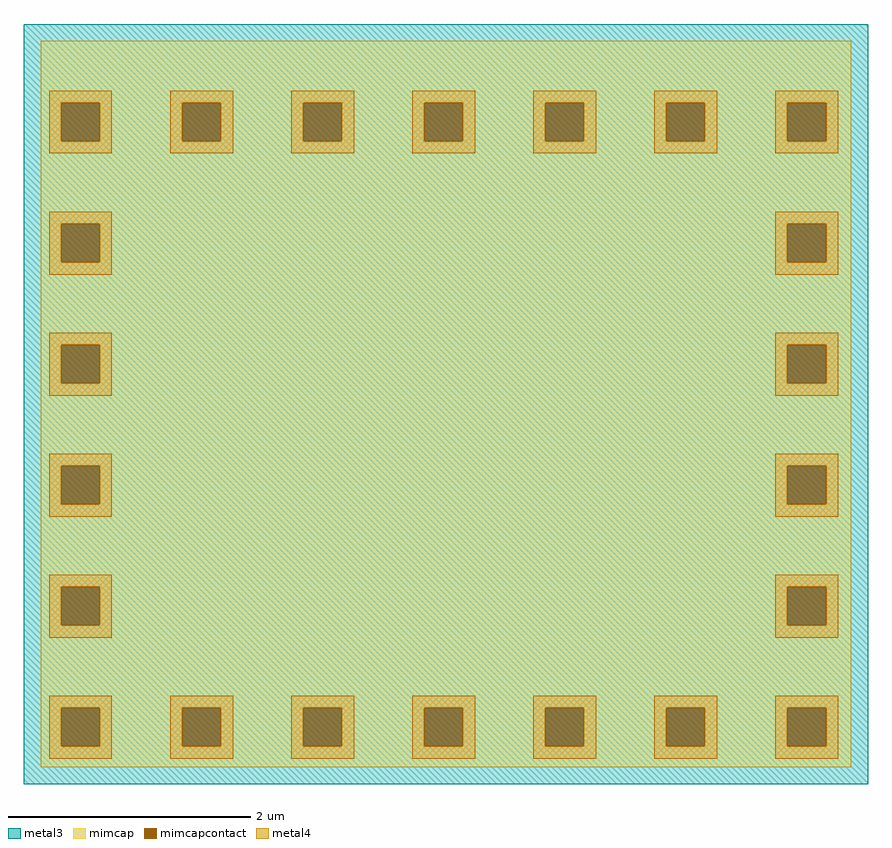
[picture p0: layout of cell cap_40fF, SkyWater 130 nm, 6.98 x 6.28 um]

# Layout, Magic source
magic
tech sky130B
<< metal3 >>
rect -14 -14 684 614
<< mimcap >>
rect 0 549 670 600
rect 0 517 17 549
rect 49 517 117 549
rect 149 517 217 549
rect 249 517 317 549
rect 349 517 417 549
rect 449 517 517 549
rect 549 517 617 549
rect 649 517 670 549
rect 0 449 670 517
rect 0 417 17 449
rect 49 417 617 449
rect 649 417 670 449
rect 0 349 670 417
rect 0 317 17 349
rect 49 317 617 349
rect 649 317 670 349
rect 0 249 670 317
rect 0 217 17 249
rect 49 217 617 249
rect 649 217 670 249
rect 0 149 670 217
rect 0 117 17 149
rect 49 117 617 149
rect 649 117 670 149
rect 0 49 670 117
rect 0 17 17 49
rect 49 17 117 49
rect 149 17 217 49
rect 249 17 317 49
rect 349 17 417 49
rect 449 17 517 49
rect 549 17 617 49
rect 649 17 670 49
rect 0 0 670 17
<< mimcapcontact >>
rect 17 517 49 549
rect 117 517 149 549
rect 217 517 249 549
rect 317 517 349 549
rect 417 517 449 549
rect 517 517 549 549
rect 617 517 649 549
rect 17 417 49 449
rect 617 417 649 449
rect 17 317 49 349
rect 617 317 649 349
rect 17 217 49 249
rect 617 217 649 249
rect 17 117 49 149
rect 617 117 649 149
rect 17 17 49 49
rect 117 17 149 49
rect 217 17 249 49
rect 317 17 349 49
rect 417 17 449 49
rect 517 17 549 49
rect 617 17 649 49
<< metal4 >>
rect 7 549 59 559
rect 7 517 17 549
rect 49 517 59 549
rect 7 507 59 517
rect 107 549 159 559
rect 107 517 117 549
rect 149 517 159 549
rect 107 507 159 517
rect 207 549 259 559
rect 207 517 217 549
rect 249 517 259 549
rect 207 507 259 517
rect 307 549 359 559
rect 307 517 317 549
rect 349 517 359 549
rect 307 507 359 517
rect 407 549 459 559
rect 407 517 417 549
rect 449 517 459 549
rect 407 507 459 517
rect 507 549 559 559
rect 507 517 517 549
rect 549 517 559 549
rect 507 507 559 517
rect 607 549 659 559
rect 607 517 617 549
rect 649 517 659 549
rect 607 507 659 517
rect 7 449 59 459
rect 7 417 17 449
rect 49 417 59 449
rect 7 407 59 417
rect 607 449 659 459
rect 607 417 617 449
rect 649 417 659 449
rect 607 407 659 417
rect 7 349 59 359
rect 7 317 17 349
rect 49 317 59 349
rect 7 307 59 317
rect 607 349 659 359
rect 607 317 617 349
rect 649 317 659 349
rect 607 307 659 317
rect 7 249 59 259
rect 7 217 17 249
rect 49 217 59 249
rect 7 207 59 217
rect 607 249 659 259
rect 607 217 617 249
rect 649 217 659 249
rect 607 207 659 217
rect 7 149 59 159
rect 7 117 17 149
rect 49 117 59 149
rect 7 107 59 117
rect 607 149 659 159
rect 607 117 617 149
rect 649 117 659 149
rect 607 107 659 117
rect 7 49 59 59
rect 7 17 17 49
rect 49 17 59 49
rect 7 7 59 17
rect 107 49 159 59
rect 107 17 117 49
rect 149 17 159 49
rect 107 7 159 17
rect 207 49 259 59
rect 207 17 217 49
rect 249 17 259 49
rect 207 7 259 17
rect 307 49 359 59
rect 307 17 317 49
rect 349 17 359 49
rect 307 7 359 17
rect 407 49 459 59
rect 407 17 417 49
rect 449 17 459 49
rect 407 7 459 17
rect 507 49 559 59
rect 507 17 517 49
rect 549 17 559 49
rect 507 7 559 17
rect 607 49 659 59
rect 607 17 617 49
rect 649 17 659 49
rect 607 7 659 17
<< end >>
